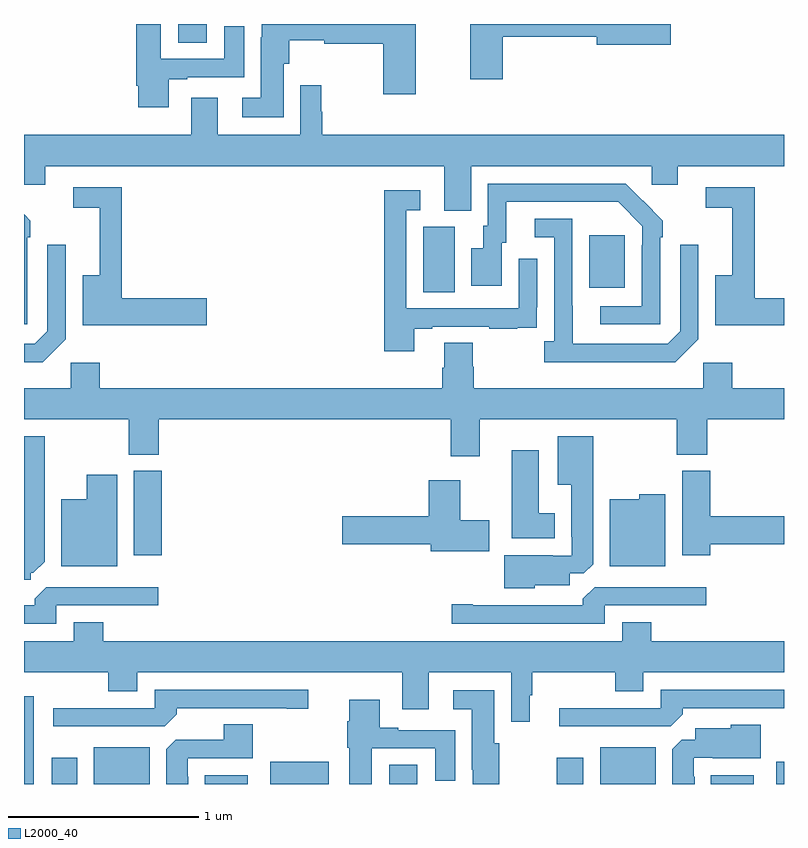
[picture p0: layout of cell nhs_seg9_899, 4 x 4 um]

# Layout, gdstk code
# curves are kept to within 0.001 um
import gdstk
lib = gdstk.Library(unit=1e-6, precision=1e-09)
def R(c, l, rs):  # rectangles x0, y0, x1, y1
    for r in rs: c.add(gdstk.rectangle(r[:2], r[2:], *l))
def P(c, l, *ps):  # polygons
    for p in ps: c.add(gdstk.Polygon(p, *l))
L2000_40 = (2000, 40)

nhs_seg9_899 = lib.new_cell('nhs_seg9_899')
R(nhs_seg9_899, L2000_40, [(159,1194.5,159.051,1194.961), (159.146,1194.5,159.28,1194.637), (159.368,1194.5,159.661,1194.694), (159.95,1194.5,160.177,1194.547), (160.296,1194.5,160.603,1194.616), (160.922,1194.5,161.071,1194.602), (161.803,1194.5,161.944,1194.637), (162.032,1194.5,162.325,1194.694), (162.614,1194.5,162.841,1194.547), (162.96,1194.5,163,1194.616), (159.578,1195.704,159.725,1196.148), (161.102,1197.088,161.266,1197.432), (161.975,1197.113,162.163,1197.388), (159.812,1198.402,159.961,1198.5)])
P(nhs_seg9_899, L2000_40, [(160.366,1198.29),(160.397,1198.29),(160.397,1198.414),(160.58,1198.414),(160.58,1198.396),(160.892,1198.396),(160.892,1198.131),(161.062,1198.131),(161.062,1198.5),(160.251,1198.5),(160.251,1198.43),(160.247,1198.43),(160.247,1198.111),(160.149,1198.111),(160.149,1198.01),(160.366,1198.01)],
  [(159.763,1198.209),(159.859,1198.209),(159.859,1198.221),(160.159,1198.221),(160.159,1198.489),(160.055,1198.489),(160.055,1198.317),(159.721,1198.317),(159.721,1198.5),(159.59,1198.5),(159.59,1198.174),(159.602,1198.174),(159.602,1198.062),(159.763,1198.062)],
  [(161.519,1198.432),(162.014,1198.432),(162.014,1198.39),(162.403,1198.39),(162.403,1198.5),(161.348,1198.5),(161.348,1198.209),(161.519,1198.209)],
  [(161.353,1197.752),(162.303,1197.752),(162.303,1197.654),(162.442,1197.654),(162.442,1197.752),(163,1197.752),(163,1197.916),(160.571,1197.916),(160.571,1198.038),(160.564,1198.038),(160.564,1198.177),(160.455,1198.177),(160.455,1197.916),(160.021,1197.916),(160.021,1198.111),(159.881,1198.111),(159.881,1197.916),(159,1197.916),(159,1197.654),(159.112,1197.654),(159.112,1197.752),(161.213,1197.752),(161.213,1197.517),(161.353,1197.517)],
  [(162.348,1197.377),(162.363,1197.377),(162.363,1197.465),(162.166,1197.66),(161.442,1197.66),(161.442,1197.438),(161.417,1197.438),(161.417,1197.319),(161.354,1197.319),(161.354,1197.123),(161.515,1197.123),(161.515,1197.348),(161.539,1197.348),(161.539,1197.564),(162.127,1197.564),(162.255,1197.435),(162.255,1197.335),(162.252,1197.335),(162.252,1197.015),(162.033,1197.015),(162.033,1196.919),(162.348,1196.919)],
  [(163,1197.056),(162.845,1197.056),(162.845,1197.642),(162.588,1197.642),(162.588,1197.534),(162.728,1197.534),(162.728,1197.178),(162.638,1197.178),(162.638,1196.914),(163,1196.914)],
  [(159.961,1197.056),(159.515,1197.056),(159.515,1197.642),(159.258,1197.642),(159.258,1197.534),(159.398,1197.534),(159.398,1197.178),(159.308,1197.178),(159.308,1196.914),(159.961,1196.914)],
  [(161.053,1196.895),(161.149,1196.895),(161.149,1196.907),(161.449,1196.907),(161.449,1196.895),(161.597,1196.895),(161.597,1196.901),(161.699,1196.901),(161.699,1197.01),(161.7,1197.01),(161.7,1197.265),(161.604,1197.265),(161.604,1197.003),(161.013,1197.003),(161.013,1197.519),(161.086,1197.519),(161.086,1197.625),(160.897,1197.625),(160.897,1196.778),(161.053,1196.778)],
  [(159.018,1197.377),(159.033,1197.377),(159.033,1197.465),(159,1197.498),(159,1196.919),(159.018,1196.919)],
  [(162.549,1196.841),(162.549,1197.337),(162.453,1197.337),(162.453,1196.883),(162.387,1196.817),(161.887,1196.817),(161.886,1197.474),(161.688,1197.474),(161.688,1197.378),(161.79,1197.378),(161.79,1196.83),(161.739,1196.83),(161.739,1196.72),(162.428,1196.72)],
  [(159.219,1196.841),(159.219,1197.337),(159.123,1197.337),(159.123,1196.883),(159.057,1196.817),(159,1196.817),(159,1196.72),(159.098,1196.72)],
  [(161.398,1196.42),(162.436,1196.42),(162.436,1196.233),(162.596,1196.233),(162.596,1196.42),(163,1196.42),(163,1196.584),(162.728,1196.584),(162.728,1196.716),(162.576,1196.716),(162.576,1196.584),(161.366,1196.584),(161.366,1196.697),(161.361,1196.697),(161.361,1196.822),(161.213,1196.822),(161.213,1196.69),(161.201,1196.69),(161.201,1196.584),(159.398,1196.584),(159.398,1196.716),(159.246,1196.716),(159.246,1196.584),(159,1196.584),(159,1196.42),(159.55,1196.42),(159.55,1196.233),(159.71,1196.233),(159.71,1196.42),(161.246,1196.42),(161.246,1196.226),(161.398,1196.226)],
  [(159.036,1195.611),(159.049,1195.611),(159.109,1195.671),(159.109,1196.329),(159,1196.329),(159,1195.575),(159.036,1195.575)],
  [(161.688,1195.547),(161.872,1195.547),(161.872,1195.608),(161.946,1195.608),(161.995,1195.657),(161.995,1196.329),(161.81,1196.329),(161.81,1196.075),(161.879,1196.075),(161.879,1195.801),(161.883,1195.801),(161.883,1195.701),(161.783,1195.701),(161.783,1195.705),(161.528,1195.705),(161.528,1195.529),(161.688,1195.529)],
  [(161.794,1195.924),(161.71,1195.924),(161.71,1196.257),(161.567,1196.257),(161.567,1195.793),(161.794,1195.793)],
  [(162.611,1195.763),(163,1195.763),(163,1195.91),(162.611,1195.91),(162.611,1196.148),(162.464,1196.148),(162.464,1195.704),(162.611,1195.704)],
  [(159.49,1196.128),(159.329,1196.128),(159.329,1195.999),(159.197,1195.999),(159.197,1195.646),(159.49,1195.646)],
  [(161.449,1195.887),(161.296,1195.887),(161.296,1196.098),(161.129,1196.098),(161.129,1195.91),(160.674,1195.91),(160.674,1195.763),(161.141,1195.763),(161.141,1195.724),(161.449,1195.724)],
  [(162.376,1196.026),(162.237,1196.026),(162.237,1195.999),(162.083,1195.999),(162.083,1195.646),(162.376,1195.646)],
  [(159.171,1195.44),(159.706,1195.44),(159.706,1195.536),(159.117,1195.536),(159.056,1195.474),(159.056,1195.44),(159,1195.44),(159,1195.344),(159.171,1195.344)],
  [(162.057,1195.44),(162.592,1195.44),(162.592,1195.536),(162.003,1195.536),(161.942,1195.474),(161.942,1195.44),(161.362,1195.44),(161.362,1195.445),(161.25,1195.445),(161.25,1195.344),(162.057,1195.344)],
  [(161.662,1194.966),(161.674,1194.966),(161.674,1195.088),(162.112,1195.088),(162.112,1194.989),(162.259,1194.989),(162.259,1195.088),(163,1195.088),(163,1195.252),(162.302,1195.252),(162.302,1195.351),(162.149,1195.351),(162.149,1195.252),(159.416,1195.252),(159.416,1195.351),(159.263,1195.351),(159.263,1195.252),(159,1195.252),(159,1195.088),(159.443,1195.088),(159.443,1194.989),(159.595,1194.989),(159.595,1195.088),(160.991,1195.088),(160.991,1194.894),(161.131,1194.894),(161.131,1195.088),(161.565,1195.088),(161.565,1194.828),(161.662,1194.828)],
  [(159.803,1194.866),(159.803,1194.9),(160.382,1194.9),(160.382,1194.895),(160.495,1194.895),(160.495,1194.996),(159.687,1194.996),(159.687,1194.9),(159.153,1194.9),(159.153,1194.804),(159.741,1194.804)],
  [(162.467,1194.866),(162.467,1194.9),(163,1194.9),(163,1194.996),(162.351,1194.996),(162.351,1194.9),(161.817,1194.9),(161.817,1194.804),(162.405,1194.804)],
  [(161.502,1194.714),(161.476,1194.714),(161.476,1194.994),(161.259,1194.994),(161.259,1194.893),(161.357,1194.893),(161.357,1194.574),(161.361,1194.574),(161.361,1194.5),(161.502,1194.5)],
  [(160.831,1194.687),(161.165,1194.687),(161.165,1194.516),(161.269,1194.516),(161.269,1194.783),(160.969,1194.783),(160.969,1194.796),(160.873,1194.796),(160.873,1194.943),(160.712,1194.943),(160.712,1194.83),(160.7,1194.83),(160.7,1194.69),(160.712,1194.69),(160.712,1194.5),(160.831,1194.5)],
  [(159.865,1194.539),(159.861,1194.539),(159.861,1194.636),(160.205,1194.636),(160.205,1194.815),(160.052,1194.815),(160.052,1194.732),(159.798,1194.732),(159.749,1194.683),(159.749,1194.5),(159.865,1194.5)],
  [(162.529,1194.539),(162.525,1194.539),(162.525,1194.639),(162.625,1194.639),(162.625,1194.635),(162.877,1194.635),(162.877,1194.811),(162.72,1194.811),(162.72,1194.793),(162.533,1194.793),(162.533,1194.732),(162.462,1194.732),(162.413,1194.683),(162.413,1194.5),(162.529,1194.5)])

lib.write_gds('nhs_seg9_899.gds')
